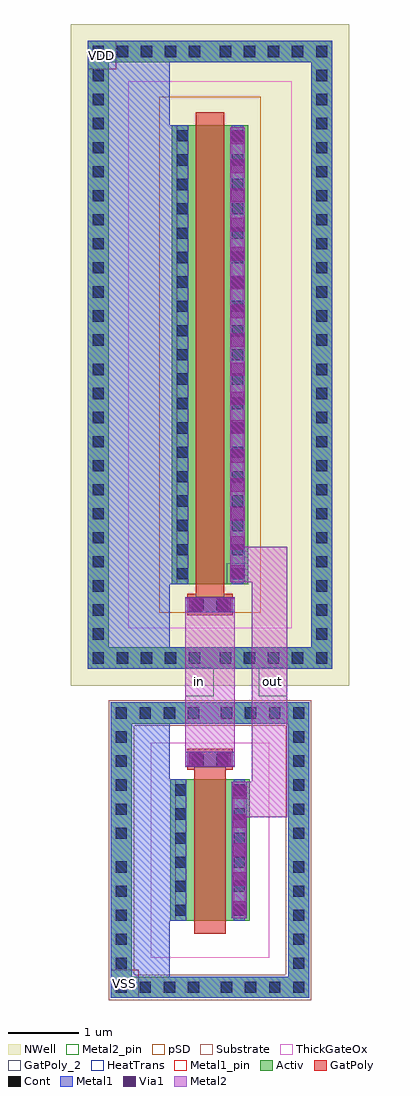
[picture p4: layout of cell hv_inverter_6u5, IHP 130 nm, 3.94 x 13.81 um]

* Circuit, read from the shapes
.subckt hv_inverter_6u5 VDD VSS in out
XM1 out in VSS VSS sg13_hv_nmos w=2u l=0.45u
XM2 out in VDD VDD sg13_hv_pmos w=6.5u l=0.4u
.ends

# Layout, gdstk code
from math import pi, radians
import gdstk
lib = gdstk.Library(unit=1e-6, precision=1e-09)
def R(c, l, rs):  # rectangles x0, y0, x1, y1
    for r in rs: c.add(gdstk.rectangle(r[:2], r[2:], *l))
def A(c, l, x, y, w, h, nx, ny, dx, dy):  # array of equal rectangles
    R(c, l, [(x+i*dx, y+j*dy, x+i*dx+w, y+j*dy+h) for i in range(nx) for j in range(ny)])
def P(c, l, *ps):  # polygons
    for p in ps: c.add(gdstk.Polygon(p, *l))
Activ = (1, 0)
GatPoly = (5, 0)
GatPoly_2 = (5, 2)
Cont = (6, 0)
Metal1 = (8, 0)
Metal1_pin = (8, 2)
Metal2 = (10, 0)
Metal2_pin = (10, 2)
pSD = (14, 0)
Via1 = (19, 0)
NWell = (31, 0)
Substrate = (40, 0)
ThickGateOx = (44, 0)
HeatTrans = (51, 0)

pmoshv_10 = lib.new_cell('pmosHV$10')
R(pmoshv_10, Activ, [(-1.19,-0.89,-0.89,7.39), (1.97,-0.89,2.27,7.39), (0,0,0.3,0.3), (0,0,1.08,6.5), (0.78,0,1.08,0.3), (-1.19,7.39,2.27,7.69)])
P(pmoshv_10, Activ, [(-1.19,-1.19),(-1.19,7.39),(-0.89,7.39),(-0.89,-0.89),(1.97,-0.89),(1.97,7.39),(-1.19,7.39),(-1.19,7.69),(2.27,7.69),(2.27,-1.19)])
R(pmoshv_10, GatPoly, [(0.34,-0.18,0.74,6.68)])
R(pmoshv_10, GatPoly_2, [(0.34,-0.18,0.74,6.68)])
A(pmoshv_10, Cont, -1.12, -1.12, 0.16, 0.16, 5, 2, 0.34, 8.58)
A(pmoshv_10, Cont, 0.68, -1.12, 0.16, 0.16, 5, 2, 0.34, 8.58)
A(pmoshv_10, Cont, -1.12, -0.78, 0.16, 0.16, 1, 12, 0, 0.34)
A(pmoshv_10, Cont, 2.04, -0.78, 0.16, 0.16, 1, 12, 0, 0.34)
A(pmoshv_10, Cont, 0.07, 0.41, 0.16, 0.16, 1, 9, 0, 0.345)
A(pmoshv_10, Cont, 0.85, 0.41, 0.16, 0.16, 1, 9, 0, 0.345)
A(pmoshv_10, Cont, -1.12, 3.38, 0.16, 0.16, 1, 12, 0, 0.34)
A(pmoshv_10, Cont, 2.04, 3.38, 0.16, 0.16, 1, 12, 0, 0.34)
A(pmoshv_10, Cont, 0.07, 3.51, 0.16, 0.16, 1, 9, 0, 0.345)
A(pmoshv_10, Cont, 0.85, 3.51, 0.16, 0.16, 1, 9, 0, 0.345)
R(pmoshv_10, Cont, [(0.07,0.07,0.23,0.23), (0.85,0.07,1.01,0.23)])
R(pmoshv_10, Metal1, [(-1.19,-1.19,2.27,-0.89), (-1.19,-0.89,-0.89,7.39), (1.97,-0.89,2.27,7.39), (0.07,0,0.23,6.5), (0.85,0,1.01,6.5), (-1.19,7.39,2.27,7.69)])
R(pmoshv_10, Metal1_pin, [(0.07,0,0.23,6.5), (0.85,0,1.01,6.5)])
R(pmoshv_10, pSD, [(-0.18,-0.4,1.26,6.9)])
R(pmoshv_10, NWell, [(-1.43,-1.43,2.51,7.93), (-0.62,-0.62,1.7,7.12)])
R(pmoshv_10, Substrate, [(0.78,0,1.08,0.3)])
R(pmoshv_10, ThickGateOx, [(-0.62,-0.62,1.7,7.12)])
R(pmoshv_10, HeatTrans, [(0.34,-0.18,0.74,6.68)])
pmoshv_10.add(gdstk.Label('pmosHV', (0.54,3.25), layer=63, texttype=0))
pmoshv_10.add(gdstk.Label('well', (0.54,-1.04), layer=63, texttype=0))
pmoshv_10.add(gdstk.Label('pmos', (0.54,3.25), layer=51, texttype=0))

nmoshv_15 = lib.new_cell('nmosHV$15')
R(nmoshv_15, Activ, [(-0.84,-0.79,-0.54,2.79), (1.67,-0.79,1.97,2.79), (0,0,0.3,0.3), (0,0,1.13,2), (0.83,0,1.13,0.3), (-0.84,2.79,1.97,3.09)])
P(nmoshv_15, Activ, [(-0.84,-1.09),(-0.84,2.79),(-0.54,2.79),(-0.54,-0.79),(1.67,-0.79),(1.67,2.79),(-0.84,2.79),(-0.84,3.09),(1.97,3.09),(1.97,-1.09)])
R(nmoshv_15, GatPoly, [(0.34,-0.18,0.79,2.18)])
R(nmoshv_15, GatPoly_2, [(0.34,-0.18,0.79,2.18)])
A(nmoshv_15, Cont, -0.77, -1.02, 0.16, 0.16, 4, 2, 0.34, 3.88)
A(nmoshv_15, Cont, 0.72, -1.02, 0.16, 0.16, 4, 2, 0.34, 3.88)
A(nmoshv_15, Cont, -0.77, -0.68, 0.16, 0.16, 1, 5, 0, 0.34)
A(nmoshv_15, Cont, 1.74, -0.68, 0.16, 0.16, 1, 5, 0, 0.34)
A(nmoshv_15, Cont, 0.07, 0.07, 0.16, 0.16, 1, 6, 0, 0.34)
A(nmoshv_15, Cont, 0.9, 0.07, 0.16, 0.16, 1, 6, 0, 0.34)
A(nmoshv_15, Cont, -0.77, 1.16, 0.16, 0.16, 1, 5, 0, 0.34)
A(nmoshv_15, Cont, 1.74, 1.16, 0.16, 0.16, 1, 5, 0, 0.34)
R(nmoshv_15, Metal1, [(-0.84,-1.09,1.97,-0.79), (-0.84,-0.79,-0.54,2.79), (1.67,-0.79,1.97,2.79), (0.07,0,0.23,2), (0.9,0,1.06,2), (-0.84,2.79,1.97,3.09)])
R(nmoshv_15, Metal1_pin, [(0.07,0,0.23,2), (0.9,0,1.06,2)])
R(nmoshv_15, pSD, [(-0.87,-0.76,-0.51,2.76), (1.64,-0.76,2,2.76), (-0.87,2.76,2,3.12)])
P(nmoshv_15, pSD, [(-0.87,-1.12),(-0.87,2.76),(-0.51,2.76),(-0.51,-0.76),(1.64,-0.76),(1.64,2.76),(-0.87,2.76),(-0.87,3.12),(2,3.12),(2,-1.12)])
R(nmoshv_15, Substrate, [(-0.87,-0.76,-0.51,2.76), (1.64,-0.76,2,2.76), (-0.87,2.76,2,3.12)])
P(nmoshv_15, Substrate, [(-0.87,-1.12),(-0.87,2.76),(-0.51,2.76),(-0.51,-0.76),(1.64,-0.76),(1.64,2.76),(-0.87,2.76),(-0.87,3.12),(2,3.12),(2,-1.12)])
R(nmoshv_15, ThickGateOx, [(-0.27,-0.52,1.4,2.52)])
R(nmoshv_15, HeatTrans, [(0.34,-0.18,0.79,2.18)])
nmoshv_15.add(gdstk.Label('nmosHV', (0.565,1), layer=63, texttype=0))
nmoshv_15.add(gdstk.Label('sub!', (0.565,-0.94), layer=63, texttype=0))
nmoshv_15.add(gdstk.Label('nmosHV', (0.565,1), layer=51, texttype=0))

via_stack_10_4 = lib.new_cell('via_stack$10$4')
R(via_stack_10_4, GatPoly, [(-0.15,-0.32,0.15,0.32)])
R(via_stack_10_4, Cont, [(-0.08,-0.25,0.08,-0.09), (-0.08,0.09,0.08,0.25)])
R(via_stack_10_4, Metal1, [(-0.08,-0.3,0.08,0.3)])

via_stack_4_8 = lib.new_cell('via_stack$4$8')
R(via_stack_4_8, Metal1, [(-0.105,-0.35,0.105,0.35)])
R(via_stack_4_8, Metal2, [(-0.1,-0.35,0.1,0.35)])
R(via_stack_4_8, Via1, [(-0.095,-0.3,0.095,-0.11), (-0.095,0.11,0.095,0.3)])

via_stack_31 = lib.new_cell('via_stack$31')
R(via_stack_31, Metal1, [(-0.105,-0.965,0.105,0.965)])
R(via_stack_31, Metal2, [(-0.1,-0.965,0.1,0.965)])
A(via_stack_31, Via1, -0.095, -0.915, 0.19, 0.19, 1, 5, 0, 0.41)

via_stack_13_4 = lib.new_cell('via_stack$13$4')
R(via_stack_13_4, Metal1, [(-0.105,-3.22,0.105,3.22)])
R(via_stack_13_4, Metal2, [(-0.1,-3.22,0.1,3.22)])
A(via_stack_13_4, Via1, -0.095, -3.17, 0.19, 0.19, 1, 16, 0, 0.41)

hv_inverter_6u5 = lib.new_cell('hv_inverter_6u5')
R(hv_inverter_6u5, Metal1, [(-1.105,-4.17,-0.57,-0.59), (-0.57,-3.38,-0.495,-1.38), (-1.43,0.49,-0.57,8.77), (-0.57,1.38,-0.47,7.88)])
R(hv_inverter_6u5, Metal1_pin, [(-1.405,-4.47,-1.005,-4.07), (-1.73,8.67,-1.33,9.07)])
R(hv_inverter_6u5, Metal2, [(-0.35,-0.995,0.35,0.995)])
R(hv_inverter_6u5, Metal2_pin, [(-0.35,-0.2,0.05,0.2), (0.69,-0.2,1.09,0.2)])
hv_inverter_6u5.add(gdstk.FlexPath([(0.515,-1.665),(0.84,-1.665),(0.84,1.66),(0.49,1.66)], 0.5, ends="flush", simple_path=True, layer=10, datatype=0))  # Metal2
hv_inverter_6u5.add(gdstk.Reference(pmoshv_10, (-0.54,1.38)))
hv_inverter_6u5.add(gdstk.Reference(nmoshv_15, (-0.565,-3.38)))
hv_inverter_6u5.add(gdstk.Reference(via_stack_10_4, (0,-1.095), rotation=pi/2))
hv_inverter_6u5.add(gdstk.Reference(via_stack_4_8, (0,-1.095), rotation=pi/2))
hv_inverter_6u5.add(gdstk.Reference(via_stack_10_4, (0,1.095), rotation=pi/2))
hv_inverter_6u5.add(gdstk.Reference(via_stack_4_8, (0,1.095), rotation=pi/2))
hv_inverter_6u5.add(gdstk.Reference(via_stack_31, (0.415,-2.38)))
hv_inverter_6u5.add(gdstk.Reference(via_stack_13_4, (0.39,4.63)))
hv_inverter_6u5.add(gdstk.Label('VSS', (-1.205,-4.27), layer=8, texttype=25))
hv_inverter_6u5.add(gdstk.Label('VDD', (-1.53,8.87), layer=8, texttype=25))
hv_inverter_6u5.add(gdstk.Label('in', (-0.15,0), layer=10, texttype=25))
hv_inverter_6u5.add(gdstk.Label('out', (0.89,0), layer=10, texttype=25))

lib.write_gds('hv_inverter_6u5.gds')
